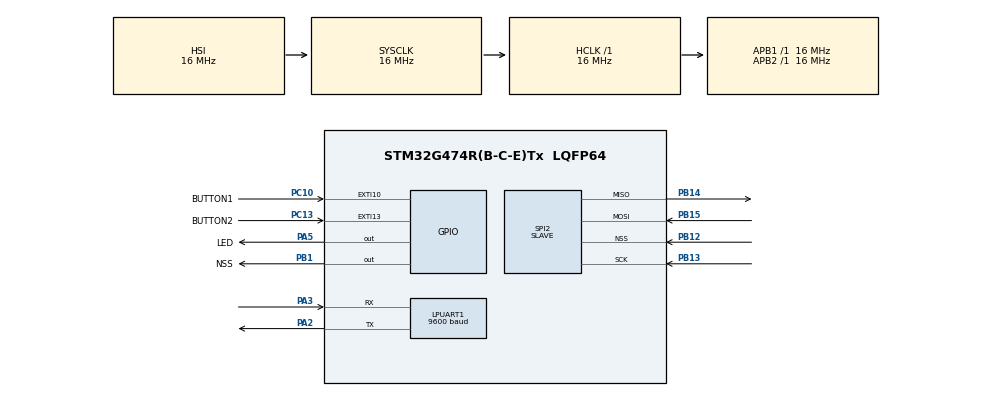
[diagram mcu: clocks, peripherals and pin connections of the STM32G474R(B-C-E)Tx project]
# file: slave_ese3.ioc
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LPUART1.BaudRate=9600
Mcu.Family=STM32G4
Mcu.Name=STM32G474R(B-C-E)Tx
Mcu.Package=LQFP64
NVIC.EXTI15_10_IRQn=true\:0\:0\:false\:false\:true\:true\:true\:true
NVIC.LPUART1_IRQn=true\:0\:0\:false\:false\:true\:true\:true\:true
NVIC.PriorityGroup=NVIC_PRIORITYGROUP_4
NVIC.SPI2_IRQn=true\:0\:0\:false\:false\:true\:true\:true\:true
PA2.Mode=Asynchronous
PA2.Signal=LPUART1_TX
PA3.Mode=Asynchronous
PA3.Signal=LPUART1_RX
PA5.GPIO_Label=LED
PA5.Signal=GPIO_Output
PB1.GPIO_Label=NSS
PB1.Signal=GPIO_Output
PB12.Mode=NSS_Signal_Hard_Input
PB12.Signal=SPI2_NSS
PB13.Mode=Full_Duplex_Slave
PB13.Signal=SPI2_SCK
PB14.Mode=Full_Duplex_Slave
PB14.Signal=SPI2_MISO
PB15.Mode=Full_Duplex_Slave
PB15.Signal=SPI2_MOSI
PC10.GPIO_Label=BUTTON1
PC10.GPIO_PuPd=GPIO_PULLDOWN
PC10.Signal=GPXTI10
PC13.GPIO_Label=BUTTON2
PC13.GPIO_PuPd=GPIO_PULLDOWN
PC13.Signal=GPXTI13
ProjectManager.HeapSize=0x200
ProjectManager.StackSize=0x400
ProjectManager.TargetToolchain=STM32CubeIDE
RCC.AHBFreq_Value=16000000
RCC.APB1Freq_Value=16000000
RCC.APB1TimFreq_Value=16000000
RCC.APB2Freq_Value=16000000
RCC.APB2TimFreq_Value=16000000
RCC.CortexFreq_Value=16000000
RCC.EXTERNAL_CLOCK_VALUE=12288000
RCC.HCLKFreq_Value=16000000
RCC.HSE_VALUE=8000000
RCC.HSI48_VALUE=48000000
RCC.HSI_VALUE=16000000
RCC.LSE_VALUE=32768
RCC.SYSCLKFreq_VALUE=16000000
RCC.USBFreq_Value=64000000
RCC.VCOOutputFreq_Value=128000000
SPI2.DataSize=SPI_DATASIZE_8BIT
SPI2.Direction=SPI_DIRECTION_2LINES
SPI2.Mode=SPI_MODE_SLAVE
SPI2.VirtualNSS=VM_NSSHARD
SPI2.VirtualType=VM_SLAVE
VP_SYS_VS_DBSignals.Mode=DisableDeadBatterySignals
board=custom

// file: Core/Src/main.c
/* USER CODE BEGIN Header */
/**
  ******************************************************************************
  * @file           : main.c
  * @brief          : Main program body (SLAVE - Ottimizzazione Numerica)
  ******************************************************************************
  * @attention
  *
  * Copyright (c) 2026 STMicroelectronics.
  * All rights reserved.
  *
  * This software is licensed under terms that can be found in the LICENSE file
  * in the root directory of this software component.
  * If no LICENSE file comes with this software, it is provided AS-IS.
  *
  ******************************************************************************
  */
/* USER CODE END Header */
#include "main.h"
#include "usart.h"
#include "spi.h"
#include "gpio.h"

/* USER CODE BEGIN Includes */
#include "string.h"
#include "stdlib.h"
#include "stdio.h"
/* USER CODE END Includes */

/* USER CODE BEGIN PD */
#define UART_MSG_SIZE  80
/* USER CODE END PD */

/* USER CODE BEGIN PV */
uint8_t spi_tx_val = 0xFF;               // Singolo byte numerico da inviare (Default: 0xFF)
uint8_t spi_rx_val = 0xFF;               // Byte di atterraggio dummy dal Master
char log_buffer_uart[UART_MSG_SIZE];     // Buffer per i log PuTTY

volatile char rx_char;                   // Singolo byte ricevuto da UART ad ogni interrupt

int idx = 0;                             // Indice di riempimento bit (0 a 3)
uint8_t uart_busy = 0;                   // Semaforo software UART
uint8_t spi_busy = 0;                    // Semaforo software SPI

static uint32_t last_button1_time = 0;   // Tempo ultimo clic Pulsante 1
static uint32_t last_button2_time = 0;   // Tempo ultimo clic Pulsante 2
/* USER CODE END PV */

void SystemClock_Config(void);

int main(void)
{
  /* MCU Configuration--------------------------------------------------------*/

  /* Reset of all peripherals, Initializes the Flash interface and the Systick. */
  HAL_Init();

  /* Configure the system clock */
  SystemClock_Config();

  /* Initialize all configured peripherals */
  MX_GPIO_Init();
  MX_LPUART1_UART_Init();
  MX_SPI2_Init();

  /* USER CODE BEGIN 2 */
  snprintf(log_buffer_uart, sizeof(log_buffer_uart), "Slave Numerico Pronto. Inserisci 3 cifre dai pulsanti...\r\n");
  HAL_UART_Transmit_IT(&hlpuart1, (uint8_t*)log_buffer_uart, strlen(log_buffer_uart));

  // Abilito la ricezione asincrona in interrupt del tasto Invio da tastiera
  HAL_UART_Receive_IT(&hlpuart1, (uint8_t*)&rx_char, 1);
  /* USER CODE END 2 */

  /* Infinite loop */
  while (1)
  {

  }
}

void SystemClock_Config(void)
{
  RCC_OscInitTypeDef RCC_OscInitStruct = {0};
  RCC_ClkInitTypeDef RCC_ClkInitStruct = {0};

  HAL_PWREx_ControlVoltageScaling(PWR_REGULATOR_VOLTAGE_SCALE1);

  RCC_OscInitStruct.OscillatorType = RCC_OSCILLATORTYPE_HSI;
  RCC_OscInitStruct.HSIState = RCC_HSI_ON;
  RCC_OscInitStruct.HSICalibrationValue = RCC_HSICALIBRATION_DEFAULT;
  RCC_OscInitStruct.PLL.PLLState = RCC_PLL_NONE;
  if (HAL_RCC_OscConfig(&RCC_OscInitStruct) != HAL_OK)
  {
    Error_Handler();
  }

  RCC_ClkInitStruct.ClockType = RCC_CLOCKTYPE_HCLK|RCC_CLOCKTYPE_SYSCLK
                              |RCC_CLOCKTYPE_PCLK1|RCC_CLOCKTYPE_PCLK2;
  RCC_ClkInitStruct.SYSCLKSource = RCC_SYSCLKSOURCE_HSI;
  RCC_ClkInitStruct.AHBCLKDivider = RCC_SYSCLK_DIV1;
  RCC_ClkInitStruct.APB1CLKDivider = RCC_HCLK_DIV1;
  RCC_ClkInitStruct.APB2CLKDivider = RCC_HCLK_DIV1;

  if (HAL_RCC_ClockConfig(&RCC_ClkInitStruct, FLASH_LATENCY_0) != HAL_OK)
  {
    Error_Handler();
  }
}

/* USER CODE BEGIN 4 */
// ==============================================================================
// 1. CALLBACK PRESSIONE TASTO INVIO DA TASTIERA UART
// ==============================================================================
void HAL_UART_RxCpltCallback(UART_HandleTypeDef *huart) {
	if (huart->Instance == hlpuart1.Instance) {

		if (rx_char == '\n' || rx_char == '\r') {

			// Antiduplicato seriale: consuma il \n parassita se siamo già a riposo
			if (idx == 0 && spi_tx_val == 0xFF) {
				HAL_UART_Receive_IT(&hlpuart1, (uint8_t*)&rx_char, 1);
				return;
			}

			// CASO ERRORE: Mancano cifre nel buffer
			if (idx < 3) {
				HAL_GPIO_WritePin(LED_GPIO_Port, LED_Pin, GPIO_PIN_SET); // Accendo il LED di errore

				if (!uart_busy) {
					uart_busy = 1;
					snprintf(log_buffer_uart, sizeof(log_buffer_uart), "ERRORE: Inserite solo %d cifre di 3! Reset.\r\n", idx);
					HAL_UART_Transmit_IT(&hlpuart1, (uint8_t*) log_buffer_uart, strlen(log_buffer_uart));
				}
				idx = 0;
				spi_tx_val = 0xFF; // Ripristino stato di vuoto
			}
			// CASO SUCCESSO: Codice a 3 bit pronto ed equivalente a un numero decimale (0-7)
			else {
				if (!spi_busy) {
					spi_busy = 1;
					HAL_GPIO_WritePin(LED_GPIO_Port, LED_Pin, GPIO_PIN_RESET); // Spegno eventuale errore precedente

					if (!uart_busy) {
						uart_busy = 1;
						snprintf(log_buffer_uart, sizeof(log_buffer_uart), "Codice intero elaborato: %d. Armamento SPI...\r\n", spi_tx_val);
						HAL_UART_Transmit_IT(&hlpuart1, (uint8_t*) log_buffer_uart, strlen(log_buffer_uart));
					}

					// Armo l'SPI Slave per trasmettere un SINGOLO byte (Dimensione = 1)
					HAL_SPI_TransmitReceive_IT(&hspi2, &spi_tx_val, &spi_rx_val, 1);
				}
				idx = 0;
			}
		}
		HAL_UART_Receive_IT(&hlpuart1, (uint8_t*)&rx_char, 1); // Riarmo l'ascolto UART
	}
}

// ==============================================================================
// 2. CALLBACK FINE TRASMISSIONE SPI (IL MASTER HA COMPLETATO IL POLLING)
// ==============================================================================
void HAL_SPI_TxRxCpltCallback(SPI_HandleTypeDef *hspi) {
	if (hspi->Instance == hspi2.Instance) {
		if (!uart_busy) {
			uart_busy = 1;
			snprintf(log_buffer_uart, sizeof(log_buffer_uart), "Master ha prelevato il dato. Bus Libero!\r\n");
			HAL_UART_Transmit_IT(&hlpuart1, (uint8_t*) log_buffer_uart, strlen(log_buffer_uart));
		}

		// Forzo la rimessa in stato di riposo della linea (0xFF) per i polling successivi
		spi_tx_val = 0xFF;
		spi_busy = 0;
	}
}

// ==============================================================================
// 3. GESTIONE PULSANTI FISICI INTERRUPT EXTI (BIT SHIFTING REAL-TIME)
// ==============================================================================
void HAL_GPIO_EXTI_Callback(uint16_t GPIO_Pin) {
	uint32_t current_time = HAL_GetTick();

	// Sblocco e reset manuale da stato di Errore tramite pressione di un tasto qualsiasi
	if (GPIO_Pin == BUTTON1_Pin || GPIO_Pin == BUTTON2_Pin) {
		if (HAL_GPIO_ReadPin(LED_GPIO_Port, LED_Pin) == GPIO_PIN_SET) {
			if (GPIO_Pin == BUTTON1_Pin && (current_time - last_button1_time < 200)) return;
			if (GPIO_Pin == BUTTON2_Pin && (current_time - last_button2_time < 200)) return;

			HAL_GPIO_WritePin(LED_GPIO_Port, LED_Pin, GPIO_PIN_RESET);
			idx = 0;
			spi_tx_val = 0xFF;

			if (GPIO_Pin == BUTTON1_Pin) last_button1_time = current_time;
			if (GPIO_Pin == BUTTON2_Pin) last_button2_time = current_time;

			if (!uart_busy) {
				uart_busy = 1;
				snprintf(log_buffer_uart, sizeof(log_buffer_uart), "Reset completato. Inserisci nuovo codice...\r\n");
				HAL_UART_Transmit_IT(&hlpuart1, (uint8_t*) log_buffer_uart, strlen(log_buffer_uart));
			}
			return; // Consumo il clic solo per resettare l'errore
		}
	}

	// Al primo inserimento utile, pulisco lo stato di riposo portandolo a 0
	if (idx == 0 && spi_tx_val == 0xFF) {
		spi_tx_val = 0;
	}

	// --------------------------------------------------------------------------
	// INSERIMENTO PULSANTE 1 (Equivale a inserire un bit a '1')
	// --------------------------------------------------------------------------
	if (GPIO_Pin == BUTTON1_Pin) {
		if (current_time - last_button1_time < 200) return; // Debounce
		last_button1_time = current_time;

		if (idx >= 3) { // Overflow preventivo
			idx = 0; spi_tx_val = 0xFF;
			HAL_GPIO_WritePin(LED_GPIO_Port, LED_Pin, GPIO_PIN_SET);
			return;
		}

		// Shifto a sinistra di 1 ed eseguo un OR logico con 0x01 per piazzare il bit 1 in coda
		spi_tx_val = (spi_tx_val << 1) | 0x01;
		idx++;

		if (!uart_busy) {
			uart_busy = 1;
			snprintf(log_buffer_uart, sizeof(log_buffer_uart), "Inserito '1' (Cifre complete: %d/3)\r\n", idx);
			HAL_UART_Transmit_IT(&hlpuart1, (uint8_t*) log_buffer_uart, strlen(log_buffer_uart));
		}
	}

	// --------------------------------------------------------------------------
	// INSERIMENTO PULSANTE 2 (Equivale a inserire un bit a '0')
	// --------------------------------------------------------------------------
	if (GPIO_Pin == BUTTON2_Pin) {
		if (current_time - last_button2_time < 200) return; // Debounce
		last_button2_time = current_time;

		if (idx >= 3) { // Overflow preventivo
			idx = 0; spi_tx_val = 0xFF;
			HAL_GPIO_WritePin(LED_GPIO_Port, LED_Pin, GPIO_PIN_SET);
			return;
		}

		// Shifto a sinistra di 1 ed eseguo un OR con 0x00 (piazza un bit a 0 in coda)
		spi_tx_val = (spi_tx_val << 1) | 0x00;
		idx++;

		if (!uart_busy) {
			uart_busy = 1;
			snprintf(log_buffer_uart, sizeof(log_buffer_uart), "Inserito '0' (Cifre complete: %d/3)\r\n", idx);
			HAL_UART_Transmit_IT(&hlpuart1, (uint8_t*) log_buffer_uart, strlen(log_buffer_uart));
		}
	}
}

// ==============================================================================
// 4. CALLBACK FINE TRASMISSIONE UART
// ==============================================================================
void HAL_UART_TxCpltCallback(UART_HandleTypeDef *huart) {
	if (huart->Instance == hlpuart1.Instance) {
		uart_busy = 0; // Sblocco del logger seriale
	}
}
/* USER CODE END 4 */

void Error_Handler(void)
{
  __disable_irq();
  while (1)
  {
  }
}
